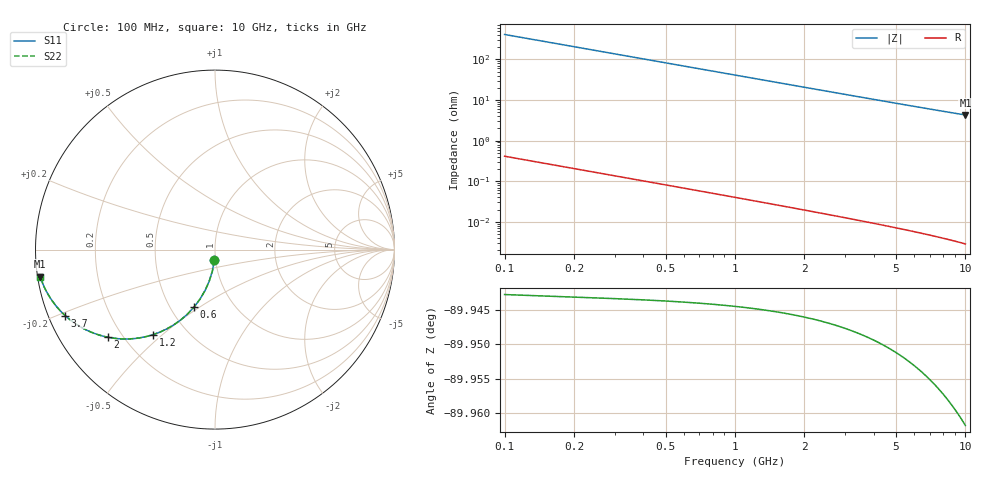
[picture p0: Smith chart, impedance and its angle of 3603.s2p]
# Hz S RI R 50.00
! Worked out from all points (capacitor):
!   100 points, 100 MHz to 10 GHz, reference 50 ohm
!   read as one part in shunt: C = 3.86 pF near 100 MHz
!   lowest |Z| = 4.29 ohm at 10 GHz (marker M1)
!   S11 on the Smith chart (normalised r, x): 100 MHz: 0.99, -0.12; 600 MHz: 0.65, -0.47; 1.2 GHz: 0.32, -0.47; 2 GHz: 0.15, -0.35; 3.7 GHz: 0.05, -0.21; 10 GHz: 0.01, -0.08
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1e8  -0.00366 -0.0603  0.9962 -0.0605  0.9962 -0.0605  -0.00366 -0.0603
2e8  -0.0146 -0.1193  0.9853 -0.1197  0.9853 -0.1197  -0.0146 -0.1193
3e8  -0.0321 -0.1758  0.9677 -0.1763  0.9677 -0.1763  -0.0321 -0.1758
4e8  -0.0557 -0.2286  0.9442 -0.2293  0.9442 -0.2293  -0.0557 -0.2286
5e8  -0.0844 -0.2771  0.9155 -0.2779  0.9155 -0.2779  -0.0844 -0.2771
6e8  -0.1171 -0.3206  0.8828 -0.3216  0.8828 -0.3216  -0.1171 -0.3206
7e8  -0.1529 -0.3588  0.847 -0.36  0.847 -0.36  -0.1529 -0.3588
9e8  -0.2297 -0.4194  0.7702 -0.4209  0.7702 -0.4209  -0.2297 -0.4194
1.2e9  -0.3463 -0.4743  0.6536 -0.4763  0.6536 -0.4763  -0.3463 -0.4743
1.5e9  -0.4528 -0.496  0.5471 -0.4985  0.5471 -0.4985  -0.4528 -0.496
1.8e9  -0.5437 -0.4961  0.4562 -0.4991  0.4562 -0.4991  -0.5437 -0.4961
2e9  -0.5952 -0.4886  0.4046 -0.492  0.4046 -0.492  -0.5952 -0.4886
2.3e9  -0.6604 -0.4711  0.3395 -0.475  0.3395 -0.475  -0.6604 -0.4711
2.6e9  -0.7131 -0.4496  0.2868 -0.454  0.2868 -0.454  -0.7131 -0.4496
3e9  -0.7679 -0.4191  0.232 -0.4241  0.232 -0.4241  -0.7679 -0.4191
3.4e9  -0.8095 -0.3892  0.1903 -0.395  0.1903 -0.395  -0.8095 -0.3892
3.7e9  -0.8343 -0.3681  0.1656 -0.3744  0.1656 -0.3744  -0.8343 -0.3681
4.3e9  -0.8718 -0.33  0.128 -0.3373  0.128 -0.3373  -0.8718 -0.33
5.1e9  -0.9054 -0.2876  0.0944 -0.2963  0.0944 -0.2963  -0.9054 -0.2876
6.7e9  -0.9431 -0.2252  0.0567 -0.2366  0.0567 -0.2366  -0.9431 -0.2252
8.4e9  -0.9632 -0.1803  0.0366 -0.1947  0.0366 -0.1947  -0.9632 -0.1803
1e10  -0.9738 -0.1499  0.0259 -0.1672  0.0259 -0.1672  -0.9738 -0.1499
